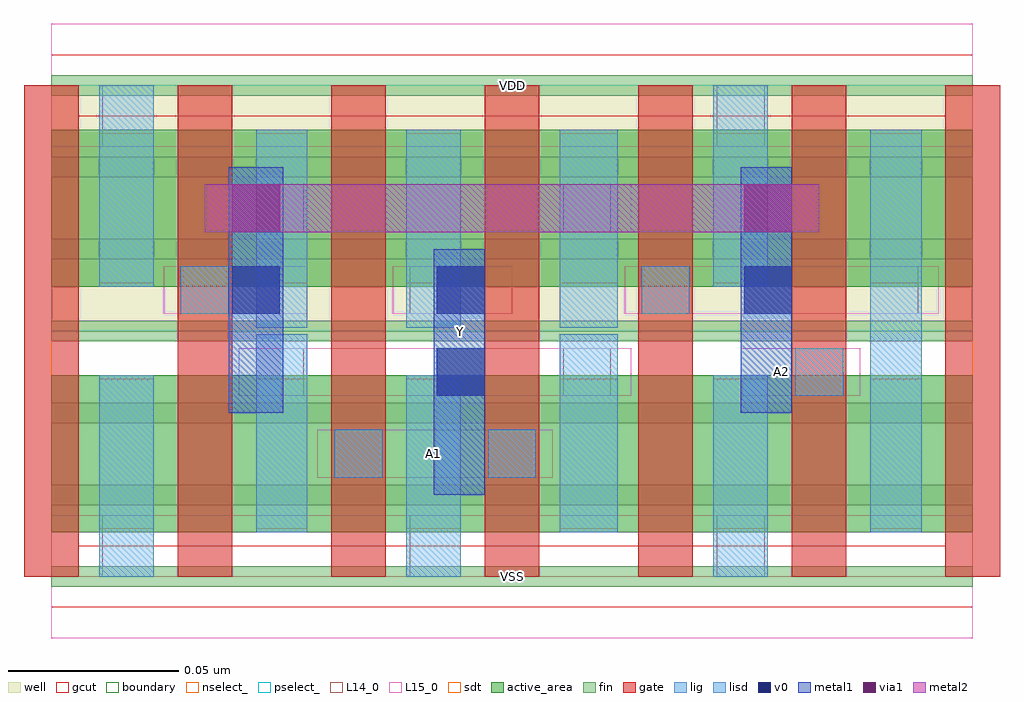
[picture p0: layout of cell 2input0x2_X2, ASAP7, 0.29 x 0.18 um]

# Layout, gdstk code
import gdstk
lib = gdstk.Library(unit=1e-6, precision=1e-09)
def R(c, l, rs):  # rectangles x0, y0, x1, y1
    for r in rs: c.add(gdstk.rectangle(r[:2], r[2:], *l))
def A(c, l, x, y, w, h, nx, ny, dx, dy):  # array of equal rectangles
    R(c, l, [(x+i*dx, y+j*dy, x+i*dx+w, y+j*dy+h) for i in range(nx) for j in range(ny)])
def P(c, l, *ps):  # polygons
    for p in ps: c.add(gdstk.Polygon(p, *l))
well = (1, 0)
fin = (2, 0)
gate = (7, 0)
gcut = (10, 0)
active_area = (11, 0)
nselect_ = (12, 0)
pselect_ = (13, 0)
L14_0 = (14, 0)
L15_0 = (15, 0)
lig = (16, 0)
lisd = (17, 0)
v0 = (18, 0)
metal1 = (19, 0)
metal2 = (20, 0)
via1 = (21, 0)
sdt = (88, 0)
boundary = (100, 0)

c_2input0x2_x2 = lib.new_cell('2input0x2_X2')
R(c_2input0x2_x2, well, [(0,0.072,0.27,0.144)])
A(c_2input0x2_x2, fin, 0, -0.003, 0.27, 0.006, 1, 7, 0, 0.024)
A(c_2input0x2_x2, gate, -0.008, 0, 0.016, 0.144, 7, 1, 0.045, 0)
P(c_2input0x2_x2, gcut, [(0,-0.009),(0,0),(-0.008,0),(-0.008,0.135),(0.008,0.135),(0.008,0.009),(0.262,0.009),(0.262,0.135),(-0.008,0.135),(-0.008,0.144),(0,0.144),(0,0.153),(0.27,0.153),(0.27,0.144),(0.278,0.144),(0.278,0),(0.27,0),(0.27,-0.009)])
R(c_2input0x2_x2, active_area, [(0,0.013,0.27,0.059), (0,0.085,0.27,0.131)])
R(c_2input0x2_x2, nselect_, [(0,0,0.27,0.072)])
R(c_2input0x2_x2, pselect_, [(0,0.072,0.27,0.144)])
R(c_2input0x2_x2, L14_0, [(0.015,0,0.03,0.018), (0.105,0,0.12,0.018), (0.195,0,0.209,0.018), (0.083,0.029,0.097,0.043), (0.128,0.029,0.142,0.043), (0.06,0.053,0.074,0.067), (0.15,0.053,0.164,0.067), (0.218,0.053,0.232,0.067), (0.038,0.077,0.052,0.091), (0.105,0.077,0.12,0.091), (0.173,0.077,0.187,0.091), (0.24,0.077,0.254,0.091), (0.06,0.101,0.074,0.115), (0.15,0.101,0.164,0.115), (0.015,0.126,0.03,0.144), (0.195,0.126,0.209,0.144)])
R(c_2input0x2_x2, L15_0, [(0,-0.018,0.27,0.018), (0.078,0.029,0.147,0.043), (0.055,0.053,0.17,0.067), (0.202,0.053,0.237,0.067), (0.033,0.077,0.075,0.091), (0.1,0.077,0.135,0.091), (0.168,0.077,0.26,0.091), (0.055,0.101,0.17,0.115), (0,0.126,0.27,0.162)])
R(c_2input0x2_x2, lig, [(0.083,0.029,0.097,0.043), (0.128,0.029,0.142,0.043), (0.218,0.053,0.232,0.067), (0.038,0.077,0.052,0.091), (0.173,0.077,0.187,0.091)])
A(c_2input0x2_x2, lisd, 0.014, 0, 0.016, 0.059, 3, 1, 0.09, 0)
R(c_2input0x2_x2, lisd, [(0.06,0.013,0.075,0.071), (0.149,0.013,0.166,0.071), (0.24,0.013,0.255,0.131), (0.06,0.073,0.075,0.131), (0.104,0.073,0.12,0.131), (0.149,0.073,0.166,0.131), (0.014,0.085,0.03,0.144), (0.194,0.085,0.21,0.144)])
R(c_2input0x2_x2, v0, [(0.113,0.053,0.127,0.067), (0.053,0.077,0.067,0.091), (0.113,0.077,0.127,0.091), (0.203,0.077,0.217,0.091)])
R(c_2input0x2_x2, metal1, [(0.112,0.024,0.127,0.096), (0.052,0.048,0.068,0.12), (0.202,0.048,0.217,0.12)])
R(c_2input0x2_x2, metal2, [(0.045,0.101,0.225,0.115)])
R(c_2input0x2_x2, via1, [(0.053,0.101,0.067,0.115), (0.203,0.101,0.217,0.115)])
A(c_2input0x2_x2, sdt, 0.014, 0.014, 0.016, 0.044, 3, 2, 0.09, 0.072)
R(c_2input0x2_x2, sdt, [(0.06,0.014,0.075,0.058), (0.149,0.014,0.166,0.058), (0.24,0.014,0.255,0.058), (0.06,0.086,0.075,0.13), (0.149,0.086,0.166,0.13), (0.24,0.086,0.255,0.13)])
R(c_2input0x2_x2, boundary, [(0,0,0.27,0.144)])
c_2input0x2_x2.add(gdstk.Label('A2', (0.214,0.06), layer=15, texttype=251))
c_2input0x2_x2.add(gdstk.Label('VSS', (0.135,0), layer=15, texttype=251))
c_2input0x2_x2.add(gdstk.Label('VDD', (0.135,0.144), layer=15, texttype=251))
c_2input0x2_x2.add(gdstk.Label('VSS', (0.135,0), layer=15, texttype=251))
c_2input0x2_x2.add(gdstk.Label('VDD', (0.135,0.144), layer=15, texttype=251))
c_2input0x2_x2.add(gdstk.Label('A1', (0.112,0.036), layer=15, texttype=251))
c_2input0x2_x2.add(gdstk.Label('VSS', (0.135,0), layer=15, texttype=251))
c_2input0x2_x2.add(gdstk.Label('VDD', (0.135,0.144), layer=15, texttype=251))
c_2input0x2_x2.add(gdstk.Label('VSS', (0.135,0), layer=3, texttype=251))
c_2input0x2_x2.add(gdstk.Label('VSS', (0.135,0), layer=3, texttype=251))
c_2input0x2_x2.add(gdstk.Label('VSS', (0.135,0), layer=3, texttype=251))
c_2input0x2_x2.add(gdstk.Label('VDD', (0.135,0.144), layer=1, texttype=251))
c_2input0x2_x2.add(gdstk.Label('VDD', (0.135,0.144), layer=1, texttype=251))
c_2input0x2_x2.add(gdstk.Label('VDD', (0.135,0.144), layer=1, texttype=251))
c_2input0x2_x2.add(gdstk.Label('Y', (0.12,0.072), layer=19, texttype=251))

lib.write_gds('2input0x2_X2.gds')
